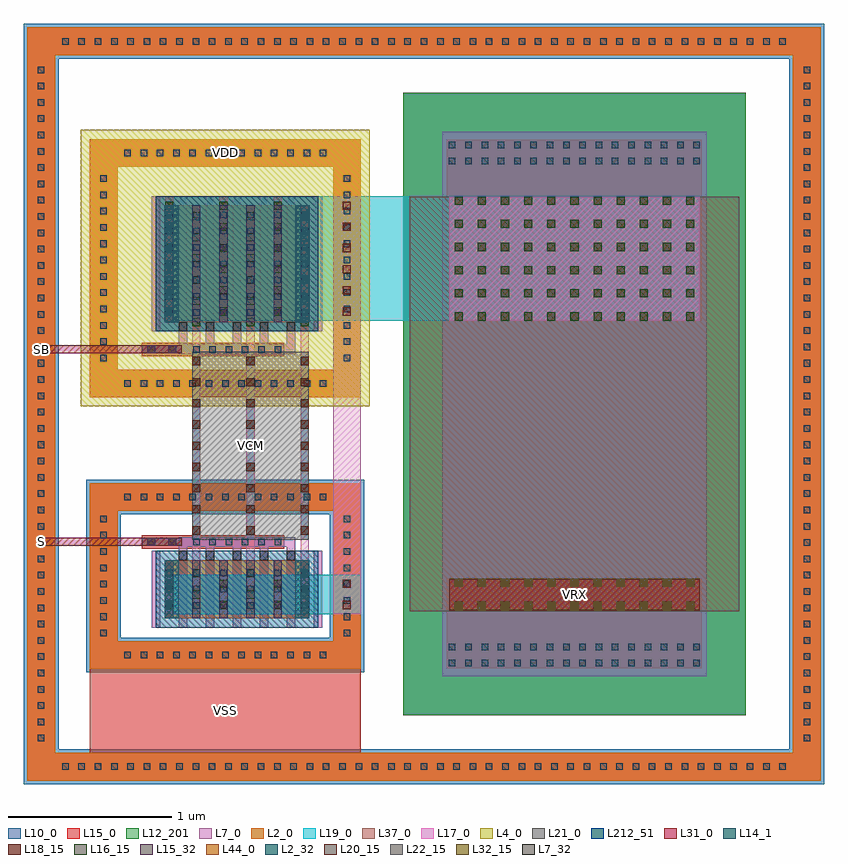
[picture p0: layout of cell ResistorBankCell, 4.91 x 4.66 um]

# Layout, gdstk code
import gdstk
lib = gdstk.Library(unit=1e-6, precision=1e-09)
def R(c, l, rs):  # rectangles x0, y0, x1, y1
    for r in rs: c.add(gdstk.rectangle(r[:2], r[2:], *l))
def A(c, l, x, y, w, h, nx, ny, dx, dy):  # array of equal rectangles
    R(c, l, [(x+i*dx, y+j*dy, x+i*dx+w, y+j*dy+h) for i in range(nx) for j in range(ny)])
L2_0 = (2, 0)
L2_32 = (2, 32)
L4_0 = (4, 0)
L7_0 = (7, 0)
L7_32 = (7, 32)
L10_0 = (10, 0)
L12_201 = (12, 201)
L14_1 = (14, 1)
L15_0 = (15, 0)
L15_32 = (15, 32)
L16_15 = (16, 15)
L17_0 = (17, 0)
L18_15 = (18, 15)
L19_0 = (19, 0)
L20_15 = (20, 15)
L21_0 = (21, 0)
L22_15 = (22, 15)
L31_0 = (31, 0)
L32_15 = (32, 15)
L37_0 = (37, 0)
L44_0 = (44, 0)
L212_51 = (212, 51)

nmosintransmissiongate = lib.new_cell('NMOSInTransmissionGate')
R(nmosintransmissiongate, L2_0, [(-0.443,-0.179,0.443,0.179)])
R(nmosintransmissiongate, L2_32, [(-0.443,-0.179,-0.358,0.179), (0.358,-0.179,0.443,0.179)])
A(nmosintransmissiongate, L7_0, -0.524, -0.236, 0.052, 0.472, 7, 1, 0.166, 0)
A(nmosintransmissiongate, L7_32, -0.358, -0.236, 0.052, 0.057, 5, 1, 0.166, 0)
A(nmosintransmissiongate, L14_1, -0.435, -0.12, 0.04, 0.04, 6, 3, 0.166, 0.1)
A(nmosintransmissiongate, L15_0, -0.44, -0.179, 0.05, 0.358, 6, 1, 0.166, 0)
A(nmosintransmissiongate, L15_32, -0.44, -0.179, 0.05, 0.358, 6, 1, 0.166, 0)
R(nmosintransmissiongate, L212_51, [(-0.498,-0.235,0.498,0.235)])

pmosintransmissiongate = lib.new_cell('PMOSInTransmissionGate')
R(pmosintransmissiongate, L2_0, [(-0.443,-0.358,0.443,0.358)])
R(pmosintransmissiongate, L2_32, [(-0.443,-0.358,-0.358,0.358), (0.358,-0.358,0.443,0.358)])
A(pmosintransmissiongate, L7_0, -0.524, -0.415, 0.052, 0.83, 7, 1, 0.166, 0)
A(pmosintransmissiongate, L7_32, -0.358, -0.415, 0.052, 0.057, 5, 1, 0.166, 0)
R(pmosintransmissiongate, L10_0, [(-0.499,-0.415,0.499,0.415)])
A(pmosintransmissiongate, L14_1, -0.435, -0.32, 0.04, 0.04, 6, 7, 0.166, 0.1)
A(pmosintransmissiongate, L15_0, -0.44, -0.358, 0.05, 0.716, 6, 1, 0.166, 0)
A(pmosintransmissiongate, L15_32, -0.44, -0.358, 0.05, 0.716, 6, 1, 0.166, 0)
R(pmosintransmissiongate, L212_51, [(-0.498,-0.414,0.498,0.414)])

viamet12met2onpmosoutput = lib.new_cell('ViaMet12Met2OnPMOSOutputInTransmissionGate')
R(viamet12met2onpmosoutput, L15_0, [(-0.025,-0.382,0.025,0.382)])
A(viamet12met2onpmosoutput, L16_15, -0.025, -0.35, 0.05, 0.05, 1, 6, 0, 0.13)
R(viamet12met2onpmosoutput, L17_0, [(-0.025,-0.382,0.025,0.382)])

viamet22met3onpmosoutput = lib.new_cell('ViaMet22Met3OnPMOSOutputInTransmissionGate')
R(viamet22met3onpmosoutput, L17_0, [(-0.025,-0.382,0.025,0.382)])
A(viamet22met3onpmosoutput, L18_15, -0.025, -0.35, 0.05, 0.05, 1, 6, 0, 0.13)
R(viamet22met3onpmosoutput, L19_0, [(-0.025,-0.382,0.025,0.382)])

viamet12met2onnmosoutput = lib.new_cell('ViaMet12Met2OnNMOSOutputInTransmissionGate')
R(viamet12met2onnmosoutput, L15_0, [(-0.025,-0.122,0.025,0.122)])
R(viamet12met2onnmosoutput, L16_15, [(-0.025,-0.09,0.025,-0.04), (-0.025,0.04,0.025,0.09)])
R(viamet12met2onnmosoutput, L17_0, [(-0.025,-0.122,0.025,0.122)])

viamet22met3onnmosoutput = lib.new_cell('ViaMet22Met3OnNMOSOutputInTransmissionGate')
R(viamet22met3onnmosoutput, L17_0, [(-0.025,-0.122,0.025,0.122)])
R(viamet22met3onnmosoutput, L18_15, [(-0.025,-0.09,0.025,-0.04), (-0.025,0.04,0.025,0.09)])
R(viamet22met3onnmosoutput, L19_0, [(-0.025,-0.122,0.025,0.122)])

viapoly2met1onpmoscontro = lib.new_cell('ViaPoly2Met1OnPMOSControlInTransmissionGate')
R(viapoly2met1onpmoscontro, L7_0, [(-0.28,-0.03,0.28,0.03)])
A(viapoly2met1onpmoscontro, L14_1, -0.27, -0.02, 0.04, 0.04, 6, 1, 0.1, 0)
R(viapoly2met1onpmoscontro, L15_0, [(-0.291,-0.041,0.291,0.041)])

viapoly2met1onnmoscontro = lib.new_cell('ViaPoly2Met1OnNMOSControlInTransmissionGate')
R(viapoly2met1onnmoscontro, L7_0, [(-0.28,-0.03,0.28,0.03)])
A(viapoly2met1onnmoscontro, L14_1, -0.27, -0.02, 0.04, 0.04, 6, 1, 0.1, 0)
R(viapoly2met1onnmoscontro, L15_0, [(-0.291,-0.041,0.291,0.041)])

transmissiongateinresist = lib.new_cell('TransmissionGateInResistorBank')
transmissiongateinresist.add(gdstk.FlexPath([(-0.332,0.404),(-0.332,0.724)], 0.052, ends="flush", simple_path=True, layer=7, datatype=0))  # L7_0
transmissiongateinresist.add(gdstk.FlexPath([(-0.166,0.404),(-0.166,0.724)], 0.052, ends="flush", simple_path=True, layer=7, datatype=0))  # L7_0
transmissiongateinresist.add(gdstk.FlexPath([(0,0.404),(0,0.724)], 0.052, ends="flush", simple_path=True, layer=7, datatype=0))  # L7_0
transmissiongateinresist.add(gdstk.FlexPath([(0.166,0.404),(0.166,0.724)], 0.052, ends="flush", simple_path=True, layer=7, datatype=0))  # L7_0
transmissiongateinresist.add(gdstk.FlexPath([(0.332,0.404),(0.332,0.724)], 0.052, ends="flush", simple_path=True, layer=7, datatype=0))  # L7_0
transmissiongateinresist.add(gdstk.FlexPath([(-0.332,2.4),(-0.332,1.845)], 0.052, ends="flush", simple_path=True, layer=7, datatype=0))  # L7_0
transmissiongateinresist.add(gdstk.FlexPath([(-0.166,2.4),(-0.166,1.845)], 0.052, ends="flush", simple_path=True, layer=7, datatype=0))  # L7_0
transmissiongateinresist.add(gdstk.FlexPath([(0,2.4),(0,1.845)], 0.052, ends="flush", simple_path=True, layer=7, datatype=0))  # L7_0
transmissiongateinresist.add(gdstk.FlexPath([(0.166,2.4),(0.166,1.845)], 0.052, ends="flush", simple_path=True, layer=7, datatype=0))  # L7_0
transmissiongateinresist.add(gdstk.FlexPath([(0.332,2.4),(0.332,1.845)], 0.052, ends="flush", simple_path=True, layer=7, datatype=0))  # L7_0
transmissiongateinresist.add(gdstk.FlexPath([(-0.332,0.694),(0.332,0.694)], 0.06, ends="flush", simple_path=True, layer=7, datatype=0))  # L7_0
transmissiongateinresist.add(gdstk.FlexPath([(-0.332,1.875),(0.332,1.875)], 0.06, ends="flush", simple_path=True, layer=7, datatype=0))  # L7_0
transmissiongateinresist.add(gdstk.Reference(nmosintransmissiongate, (0,0.404), x_reflection=True))
transmissiongateinresist.add(gdstk.Reference(pmosintransmissiongate, (0,2.4)))
transmissiongateinresist.add(gdstk.Reference(viamet12met2onpmosoutput, (-0.249,2.368)))
transmissiongateinresist.add(gdstk.Reference(viamet12met2onpmosoutput, (0.083,2.368)))
transmissiongateinresist.add(gdstk.Reference(viamet12met2onpmosoutput, (0.415,2.368)))
transmissiongateinresist.add(gdstk.Reference(viamet12met2onpmosoutput, (-0.415,2.432)))
transmissiongateinresist.add(gdstk.Reference(viamet12met2onpmosoutput, (-0.083,2.432)))
transmissiongateinresist.add(gdstk.Reference(viamet12met2onpmosoutput, (0.249,2.432)))
transmissiongateinresist.add(gdstk.Reference(viamet22met3onpmosoutput, (-0.415,2.432)))
transmissiongateinresist.add(gdstk.Reference(viamet22met3onpmosoutput, (-0.083,2.432)))
transmissiongateinresist.add(gdstk.Reference(viamet22met3onpmosoutput, (0.249,2.432)))
transmissiongateinresist.add(gdstk.Reference(viamet12met2onnmosoutput, (-0.249,0.436)))
transmissiongateinresist.add(gdstk.Reference(viamet12met2onnmosoutput, (0.083,0.436)))
transmissiongateinresist.add(gdstk.Reference(viamet12met2onnmosoutput, (0.415,0.436)))
transmissiongateinresist.add(gdstk.Reference(viamet12met2onnmosoutput, (-0.415,0.372)))
transmissiongateinresist.add(gdstk.Reference(viamet12met2onnmosoutput, (-0.083,0.372)))
transmissiongateinresist.add(gdstk.Reference(viamet12met2onnmosoutput, (0.249,0.372)))
transmissiongateinresist.add(gdstk.Reference(viamet22met3onnmosoutput, (-0.415,0.372)))
transmissiongateinresist.add(gdstk.Reference(viamet22met3onnmosoutput, (-0.083,0.372)))
transmissiongateinresist.add(gdstk.Reference(viamet22met3onnmosoutput, (0.249,0.372)))
transmissiongateinresist.add(gdstk.Reference(viapoly2met1onpmoscontro, (0,1.875)))
transmissiongateinresist.add(gdstk.Reference(viapoly2met1onnmoscontro, (0,0.694)))

viamet12met2oninputinres = lib.new_cell('ViaMet12Met2OnInputInResistorBank')
R(viamet12met2oninputinres, L15_0, [(-0.122,-0.025,0.122,0.025)])
R(viamet12met2oninputinres, L16_15, [(-0.09,-0.025,-0.04,0.025), (0.04,-0.025,0.09,0.025)])
R(viamet12met2oninputinres, L17_0, [(-0.122,-0.025,0.122,0.025)])

viamet22met3oninputinres = lib.new_cell('ViaMet22Met3OnInputInResistorBank')
R(viamet22met3oninputinres, L17_0, [(-0.122,-0.025,0.122,0.025)])
R(viamet22met3oninputinres, L18_15, [(-0.09,-0.025,-0.04,0.025), (0.04,-0.025,0.09,0.025)])
R(viamet22met3oninputinres, L19_0, [(-0.122,-0.025,0.122,0.025)])

viamet32met4oninputinres = lib.new_cell('ViaMet32Met4OnInputInResistorBank')
R(viamet32met4oninputinres, L19_0, [(-0.122,-0.025,0.122,0.025)])
R(viamet32met4oninputinres, L20_15, [(-0.09,-0.025,-0.04,0.025), (0.04,-0.025,0.09,0.025)])
R(viamet32met4oninputinres, L21_0, [(-0.122,-0.025,0.122,0.025)])

viamet42met5oninputinres = lib.new_cell('ViaMet42Met5OnInputInResistorBank')
R(viamet42met5oninputinres, L21_0, [(-0.122,-0.025,0.122,0.025)])
R(viamet42met5oninputinres, L22_15, [(-0.09,-0.025,-0.04,0.025), (0.04,-0.025,0.09,0.025)])
R(viamet42met5oninputinres, L31_0, [(-0.122,-0.025,0.122,0.025)])

opppcresinresistorbank = lib.new_cell('OpppcresInResistorBank')
R(opppcresinresistorbank, L7_0, [(-0.81,-1.67,0.81,1.67)])
R(opppcresinresistorbank, L10_0, [(-1.05,-1.91,1.05,1.91)])
R(opppcresinresistorbank, L12_201, [(-1.05,-1.91,1.05,1.91)])
A(opppcresinresistorbank, L14_1, -0.77, -1.61, 0.04, 0.04, 16, 2, 0.1, 0.1)
A(opppcresinresistorbank, L14_1, -0.77, 1.47, 0.04, 0.04, 16, 2, 0.1, 0.1)
R(opppcresinresistorbank, L15_0, [(-0.782,-1.622,0.782,-1.458), (-0.782,1.458,0.782,1.622)])
R(opppcresinresistorbank, L37_0, [(-1.01,-1.27,1.01,1.27)])

pmossubringinresistorban = lib.new_cell('PMOSSubringInResistorBank')
R(pmossubringinresistorban, L2_0, [(-0.831,-0.792,0.831,-0.622), (-0.831,-0.792,-0.661,0.792), (0.661,-0.792,0.831,0.792), (-0.831,0.622,0.831,0.792)])
A(pmossubringinresistorban, L14_1, -0.62, -0.727, 0.04, 0.04, 13, 2, 0.1, 1.414)
A(pmossubringinresistorban, L14_1, -0.766, -0.57, 0.04, 0.04, 1, 12, 0, 0.1)
A(pmossubringinresistorban, L14_1, 0.726, -0.57, 0.04, 0.04, 1, 12, 0, 0.1)
R(pmossubringinresistorban, L15_0, [(-0.831,-0.792,0.831,-0.622), (-0.831,-0.792,-0.661,0.792), (0.661,-0.792,0.831,0.792), (-0.831,0.622,0.831,0.792)])
pmossubringinresistorban.add(gdstk.FlexPath([(0.746,0.848),(0.746,-0.707),(-0.746,-0.707),(-0.746,0.707),(0.887,0.707)], 0.282, ends="flush", simple_path=True, layer=4, datatype=0))  # L4_0

nmossubringinresistorban = lib.new_cell('NMOSSubringInResistorBank')
R(nmossubringinresistorban, L2_0, [(-0.831,-0.57,0.831,-0.4), (-0.831,-0.57,-0.661,0.57), (0.661,-0.57,0.831,0.57), (-0.831,0.4,0.831,0.57)])
A(nmossubringinresistorban, L14_1, -0.62, -0.505, 0.04, 0.04, 13, 2, 0.1, 0.97)
A(nmossubringinresistorban, L14_1, -0.766, -0.37, 0.04, 0.04, 1, 8, 0, 0.1)
A(nmossubringinresistorban, L14_1, 0.726, -0.37, 0.04, 0.04, 1, 8, 0, 0.1)
R(nmossubringinresistorban, L15_0, [(-0.831,-0.57,0.831,-0.4), (-0.831,-0.57,-0.661,0.57), (0.661,-0.57,0.831,0.57), (-0.831,0.4,0.831,0.57)])
nmossubringinresistorban.add(gdstk.FlexPath([(0.746,0.591),(0.746,-0.485),(-0.746,-0.485),(-0.746,0.485),(0.852,0.485)], 0.212, ends="flush", simple_path=True, layer=10, datatype=0))  # L10_0

totalsubringinresistorba = lib.new_cell('TotalSubringInResistorBank')
R(totalsubringinresistorba, L2_0, [(-2.433,-2.31,2.433,-2.14), (-2.433,-2.31,-2.263,2.31), (2.263,-2.31,2.433,2.31), (-2.433,2.14,2.433,2.31)])
A(totalsubringinresistorba, L14_1, -2.22, -2.245, 0.04, 0.04, 45, 2, 0.1, 4.45)
A(totalsubringinresistorba, L14_1, -2.368, -2.07, 0.04, 0.04, 1, 42, 0, 0.1)
A(totalsubringinresistorba, L14_1, 2.328, -2.07, 0.04, 0.04, 1, 42, 0, 0.1)
R(totalsubringinresistorba, L15_0, [(-2.433,-2.31,2.433,-2.14), (-2.433,-2.31,-2.263,2.31), (2.263,-2.31,2.433,2.31), (-2.433,2.14,2.433,2.31)])
totalsubringinresistorba.add(gdstk.FlexPath([(2.348,2.331),(2.348,-2.225),(-2.348,-2.225),(-2.348,2.225),(2.454,2.225)], 0.212, ends="flush", simple_path=True, layer=10, datatype=0))  # L10_0

viamet12met2onresistorin = lib.new_cell('ViaMet12Met2OnResistorInResistorBank')
R(viamet12met2onresistorin, L15_0, [(-0.767,-0.38,0.767,0.38)])
A(viamet12met2onresistorin, L16_15, -0.735, -0.38, 0.05, 0.05, 11, 6, 0.142, 0.142)
R(viamet12met2onresistorin, L17_0, [(-0.767,-0.38,0.767,0.38)])

viamet12met2onresistor1i = lib.new_cell('ViaMet12Met2OnResistor1InResistorBank')
R(viamet12met2onresistor1i, L15_0, [(-0.767,-0.096,0.767,0.096)])
A(viamet12met2onresistor1i, L16_15, -0.735, -0.096, 0.05, 0.05, 11, 2, 0.142, 0.142)
R(viamet12met2onresistor1i, L17_0, [(-0.767,-0.096,0.767,0.096)])

viamet22met3onresistorin = lib.new_cell('ViaMet22Met3OnResistorInResistorBank')
R(viamet22met3onresistorin, L17_0, [(-0.767,-0.38,0.767,0.38)])
A(viamet22met3onresistorin, L18_15, -0.735, -0.38, 0.05, 0.05, 11, 6, 0.142, 0.142)
R(viamet22met3onresistorin, L19_0, [(-0.767,-0.38,0.767,0.38)])

viamet22met3onresistor1i = lib.new_cell('ViaMet22Met3OnResistor1InResistorBank')
R(viamet22met3onresistor1i, L17_0, [(-0.767,-0.096,0.767,0.096)])
A(viamet22met3onresistor1i, L18_15, -0.735, -0.096, 0.05, 0.05, 11, 2, 0.142, 0.142)
R(viamet22met3onresistor1i, L19_0, [(-0.767,-0.096,0.767,0.096)])

viamet32met4onresistorin = lib.new_cell('ViaMet32Met4OnResistorInResistorBank')
R(viamet32met4onresistorin, L19_0, [(-0.767,-0.096,0.767,0.096)])
A(viamet32met4onresistorin, L20_15, -0.735, -0.096, 0.05, 0.05, 11, 2, 0.142, 0.142)
R(viamet32met4onresistorin, L21_0, [(-0.767,-0.096,0.767,0.096)])

viamet42met5onresistorin = lib.new_cell('ViaMet42Met5OnResistorInResistorBank')
R(viamet42met5onresistorin, L21_0, [(-0.767,-0.096,0.767,0.096)])
A(viamet42met5onresistorin, L22_15, -0.735, -0.096, 0.05, 0.05, 11, 2, 0.142, 0.142)
R(viamet42met5onresistorin, L31_0, [(-0.767,-0.096,0.767,0.096)])

viamet52met6onresistorin = lib.new_cell('ViaMet52Met6OnResistorInResistorBank')
R(viamet52met6onresistorin, L31_0, [(-0.767,-0.096,0.767,0.096)])
A(viamet52met6onresistorin, L32_15, -0.735, -0.096, 0.05, 0.05, 11, 2, 0.142, 0.142)
R(viamet52met6onresistorin, L44_0, [(-0.767,-0.096,0.767,0.096)])

viavcmmet22met3inresisto = lib.new_cell('ViaVCMMet22Met3InResistorBank')
R(viavcmmet22met3inresisto, L17_0, [(-0.025,-0.577,0.025,0.577)])
A(viavcmmet22met3inresisto, L18_15, -0.025, -0.545, 0.05, 0.05, 1, 9, 0, 0.13)
R(viavcmmet22met3inresisto, L19_0, [(-0.025,-0.577,0.025,0.577)])

viavcmmet32met4inresisto = lib.new_cell('ViaVCMMet32Met4InResistorBank')
R(viavcmmet32met4inresisto, L19_0, [(-0.025,-0.577,0.025,0.577)])
A(viavcmmet32met4inresisto, L20_15, -0.025, -0.545, 0.05, 0.05, 1, 9, 0, 0.13)
R(viavcmmet32met4inresisto, L21_0, [(-0.025,-0.577,0.025,0.577)])

viatgpmos2resmet22met3in = lib.new_cell('ViaTGPMOS2ResMet22Met3InResistorBank')
R(viatgpmos2resmet22met3in, L17_0, [(-0.057,-0.35,0.057,0.35)])
A(viatgpmos2resmet22met3in, L18_15, -0.025, -0.35, 0.05, 0.05, 1, 6, 0, 0.13)
R(viatgpmos2resmet22met3in, L19_0, [(-0.057,-0.35,0.057,0.35)])

viatgnmos2resmet22met3in = lib.new_cell('ViaTGNMOS2ResMet22Met3InResistorBank')
R(viatgnmos2resmet22met3in, L17_0, [(-0.057,-0.09,0.057,0.09)])
R(viatgnmos2resmet22met3in, L18_15, [(-0.025,-0.09,0.025,-0.04), (-0.025,0.04,0.025,0.09)])
R(viatgnmos2resmet22met3in, L19_0, [(-0.057,-0.09,0.057,0.09)])

resistorbankcell = lib.new_cell('ResistorBankCell')
R(resistorbankcell, L15_0, [(-0.902,-0.77,0.758,0.084)])
A(resistorbankcell, L17_0, -0.274, 0.314, 0.05, 2.436, 3, 1, 0.332, 0)
R(resistorbankcell, L21_0, [(-0.249,0.707,0.415,1.861)])
resistorbankcell.add(gdstk.FlexPath([(-0.462,1.875),(-1.201,1.875)], 0.05, ends="flush", simple_path=True, layer=31, datatype=0))  # L31_0
resistorbankcell.add(gdstk.FlexPath([(-0.462,0.694),(-1.201,0.694)], 0.05, ends="flush", simple_path=True, layer=31, datatype=0))  # L31_0
resistorbankcell.add(gdstk.FlexPath([(-0.732,2.373),(0.588,2.373)], 1.244, ends="flush", simple_path=True, layer=4, datatype=0))  # L4_0
resistorbankcell.add(gdstk.FlexPath([(-0.584,1.875),(0,1.875)], 0.082, ends="flush", simple_path=True, layer=15, datatype=0))  # L15_0
resistorbankcell.add(gdstk.FlexPath([(-0.584,0.694),(0,0.694)], 0.082, ends="flush", simple_path=True, layer=15, datatype=0))  # L15_0
resistorbankcell.add(gdstk.FlexPath([(2.07,2.052),(2.07,3.162)], 1.564, ends="flush", simple_path=True, layer=15, datatype=0))  # L15_0
resistorbankcell.add(gdstk.FlexPath([(2.07,0.468),(2.07,-0.082)], 1.564, ends="flush", simple_path=True, layer=15, datatype=0))  # L15_0
resistorbankcell.add(gdstk.FlexPath([(-0.415,2.432),(2.837,2.432)], 0.764, ends="flush", simple_path=True, layer=19, datatype=0))  # L19_0
resistorbankcell.add(gdstk.FlexPath([(-0.415,0.372),(0.759,0.372)], 0.244, ends="flush", simple_path=True, layer=19, datatype=0))  # L19_0
resistorbankcell.add(gdstk.FlexPath([(0.674,2.814),(0.674,0.25)], 0.17, ends="flush", simple_path=True, layer=17, datatype=0))  # L17_0
resistorbankcell.add(gdstk.Reference(transmissiongateinresist, (0,0)))
resistorbankcell.add(gdstk.Reference(viamet12met2oninputinres, (-0.462,1.875)))
resistorbankcell.add(gdstk.Reference(viamet12met2oninputinres, (-0.462,0.694)))
resistorbankcell.add(gdstk.Reference(viamet22met3oninputinres, (-0.462,1.875)))
resistorbankcell.add(gdstk.Reference(viamet22met3oninputinres, (-0.462,0.694)))
resistorbankcell.add(gdstk.Reference(viamet32met4oninputinres, (-0.462,1.875)))
resistorbankcell.add(gdstk.Reference(viamet32met4oninputinres, (-0.462,0.694)))
resistorbankcell.add(gdstk.Reference(viamet42met5oninputinres, (-0.462,1.875)))
resistorbankcell.add(gdstk.Reference(viamet42met5oninputinres, (-0.462,0.694)))
resistorbankcell.add(gdstk.Reference(opppcresinresistorbank, (2.07,1.54)))
resistorbankcell.add(gdstk.Reference(pmossubringinresistorban, (-0.072,2.373)))
resistorbankcell.add(gdstk.Reference(nmossubringinresistorban, (-0.072,0.485)))
resistorbankcell.add(gdstk.Reference(totalsubringinresistorba, (1.147,1.54)))
resistorbankcell.add(gdstk.Reference(viamet12met2onresistorin, (2.07,2.432)))
resistorbankcell.add(gdstk.Reference(viamet12met2onresistor1i, (2.07,0.372)))
resistorbankcell.add(gdstk.Reference(viamet22met3onresistorin, (2.07,2.432)))
resistorbankcell.add(gdstk.Reference(viamet22met3onresistor1i, (2.07,0.372)))
resistorbankcell.add(gdstk.Reference(viamet32met4onresistorin, (2.07,0.372)))
resistorbankcell.add(gdstk.Reference(viamet42met5onresistorin, (2.07,0.372)))
resistorbankcell.add(gdstk.Reference(viamet52met6onresistorin, (2.07,0.372)))
resistorbankcell.add(gdstk.Reference(viavcmmet22met3inresisto, (-0.249,1.284)))
resistorbankcell.add(gdstk.Reference(viavcmmet22met3inresisto, (0.083,1.284)))
resistorbankcell.add(gdstk.Reference(viavcmmet22met3inresisto, (0.415,1.284)))
resistorbankcell.add(gdstk.Reference(viavcmmet32met4inresisto, (-0.249,1.284)))
resistorbankcell.add(gdstk.Reference(viavcmmet32met4inresisto, (0.083,1.284)))
resistorbankcell.add(gdstk.Reference(viavcmmet32met4inresisto, (0.415,1.284)))
resistorbankcell.add(gdstk.Reference(viatgpmos2resmet22met3in, (0.674,2.432)))
resistorbankcell.add(gdstk.Reference(viatgnmos2resmet22met3in, (0.674,0.372)))
resistorbankcell.add(gdstk.Label('VDD', (-0.072,3.08), layer=15, texttype=20))
resistorbankcell.add(gdstk.Label('VSS', (-0.072,-0.343), layer=15, texttype=20))
resistorbankcell.add(gdstk.Label('S', (-1.201,0.694), layer=31, texttype=20))
resistorbankcell.add(gdstk.Label('SB', (-1.201,1.875), layer=31, texttype=20))
resistorbankcell.add(gdstk.Label('VRX', (2.07,0.372), layer=44, texttype=20))
resistorbankcell.add(gdstk.Label('VCM', (0.083,1.284), layer=21, texttype=20))

lib.write_gds('ResistorBankCell.gds')
